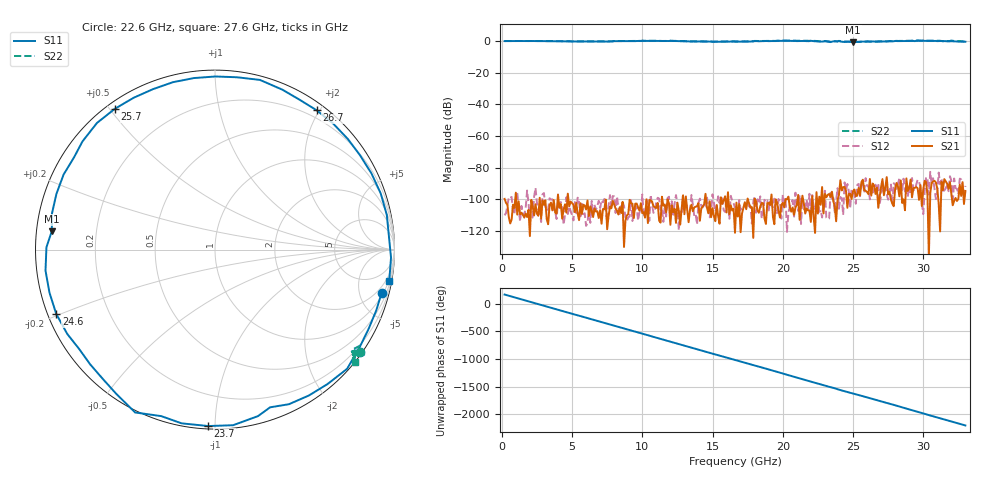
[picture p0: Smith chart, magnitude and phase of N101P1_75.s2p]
# GHZ S RI R 50
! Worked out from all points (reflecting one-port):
!   329 points, 200 MHz to 33 GHz, reference 50 ohm
!   lowest |S11| = -0.8 dB at 25 GHz (marker M1), VSWR 22.54, Z = 2.23 + j2.8 ohm
!   phase of S11 starts at 166 deg and turns -2370 deg over the sweep
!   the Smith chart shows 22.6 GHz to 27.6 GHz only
!   S11 on the Smith chart (normalised r, x): 22.6 GHz: 1.26, -7.61; 23.7 GHz: 0.02, -0.96; 24.6 GHz: 0.02, -0.19; 25.7 GHz: 0.02, +0.52; 26.7 GHz: 0.10, +1.96; 27.6 GHz: 1, -11
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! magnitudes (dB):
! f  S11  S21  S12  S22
! 200 MHz  0.0  -99.7  -110.1  0.0
! 5.7 GHz  -0.2  -109.3  -101.7  -0.2
! 11.2 GHz  0.1  -113.4  -99.6  0.2
! 15 GHz  -0.5  -105.6  -96.8  -0.2
! 16.6 GHz  -0.3  -121.1  -105.2  -0.2
! 20 GHz  0.2  -102.2  -97.2  0.4
! 22.1 GHz  0.1  -98.0  -97.3  0.2
! 22.6 GHz  -0.4  -98.3  -107.9  -0.1
! 23 GHz  -0.1  -96.5  -94.6  0.1
! 23.4 GHz  -0.6  -98.5  -95.8  -0.4
! 23.7 GHz  -0.1  -104.5  -108.2  -0.1
! 24 GHz  0.1  -97.3  -105.9  0.1
! 24.3 GHz  -0.5  -92.3  -109.8  -0.3
! 24.6 GHz  -0.4  -105.4  -90.3  -0.3
! 25 GHz  -0.8  -94.9  -95.8  -0.4
! 25.7 GHz  -0.3  -87.6  -89.1  -0.4
! 26.7 GHz  -0.3  -92.6  -92.9  -0.2
! 27.6 GHz  -0.1  -95.1  -94.8  0.0
! 29.6 GHz  0.2  -93.0  -87.6  0.4
! 31.4 GHz  0.0  -94.2  -94.6  -0.1
! 32 GHz  -0.1  -96.3  -88.1  0.3
! 33 GHz  -0.4  -94.7  -91.5  -0.3
